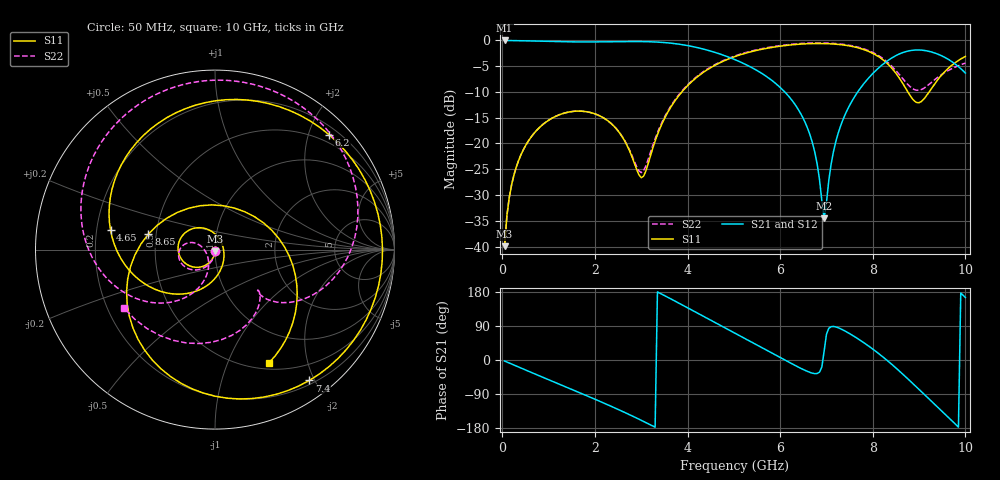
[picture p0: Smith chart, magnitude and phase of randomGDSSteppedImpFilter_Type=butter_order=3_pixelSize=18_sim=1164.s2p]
! freq	dB(S11)	phase(S11)	dB(S12)	phase(S12)
!  dB(S21)	phase(S21)	dB(S22)	phase(S22)
!S-par simulation data
#  GHz  S  DB  R 50
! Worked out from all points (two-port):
!   200 points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, 50 MHz to 10 GHz, reference 50 ohm
!   highest |S21| = -0.01 dB at 50 MHz (marker M1); lowest = -34.6 dB at 6.95 GHz (marker M2)
!   |S21| within 3 dB of the highest: start of sweep to 4.818 GHz; 8.487 GHz to 9.493 GHz (1.006 GHz wide, 11.2 % of centre)
!   lowest |S11| = -39.9 dB at 50 MHz (marker M3), VSWR 1.02, Z = 50 - j1.01 ohm
!   |S11| at or under -10 dB: start of sweep to 3.877 GHz; 8.758 GHz to 9.216 GHz (457.5 MHz wide, 5.09 % of centre)
!   |S22| runs from -39.9 to -0.5 dB; largest |S21 - S12| = 0
!   S11 on the Smith chart (normalised r, x): 50 MHz: 1.00, -0.02; 4.65 GHz: 0.26, +0.09; 6.2 GHz: 0.34, +2.36; 7.4 GHz: 0.25, -1.93; 8.65 GHz: 0.45, +0.09; 10 GHz: 0.58, -1.42
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0.05  -39.93 -92.1  -0.01 -2.7  -0.01 -2.7  -39.92 -91.6
0.2  -28.06 -101.5  -0.02 -10.6  -0.02 -10.6  -28.06 -99.8
0.5  -20.45 -119.0  -0.07 -26.2  -0.07 -26.2  -20.45 -114.5
1.75  -13.76 169.0  -0.29 -90.5  -0.29 -90.5  -13.76 -171.1
2.45  -17.02 120.8  -0.24 -127.6  -0.24 -127.6  -17.01 163.8
3  -26.63 18.5  -0.22 -159.0  -0.22 -159.0  -25.65 -155.7
3.4  -17.17 -82.8  -0.35 176.5  -0.35 176.5  -16.84 -108.2
4.05  -8.34 -142.7  -1.08 134.6  -1.08 134.6  -8.19 -130.9
4.65  -4.55 169.5  -2.48 95.2  -2.48 95.2  -4.43 -161.3
5.05  -3.05 137.9  -3.83 69.0  -3.83 69.0  -2.93 178.1
5.65  -1.63 90.0  -6.67 29.6  -6.67 29.6  -1.52 147.0
6.2  -0.90 45.2  -11.01 -6.5  -11.01 -6.5  -0.78 117.7
6.7  -0.61 4.1  -19.97 -34.9  -19.97 -34.9  -0.50 89.4
6.95  -0.61 -16.5  -34.55 23.5  -34.55 23.5  -0.50 74.3
7.15  -0.69 -33.1  -21.63 88.5  -21.63 88.5  -0.58 61.7
7.4  -0.93 -54.2  -14.45 76.5  -14.45 76.5  -0.81 45.2
7.85  -1.91 -94.5  -7.92 42.0  -7.92 42.0  -1.77 12.8
8.35  -4.80 -148.3  -3.75 -5.1  -3.75 -5.1  -4.49 -25.4
8.65  -8.38 166.9  -2.35 -37.6  -2.35 -37.6  -7.44 -42.3
9.2  -10.21 28.8  -2.08 -101.0  -2.08 -101.0  -8.64 -47.2
9.6  -5.66 -28.5  -3.51 -147.5  -3.51 -147.5  -5.98 -85.6
10  -3.11 -64.5  -6.33 164.9  -6.33 164.9  -4.40 -147.5
